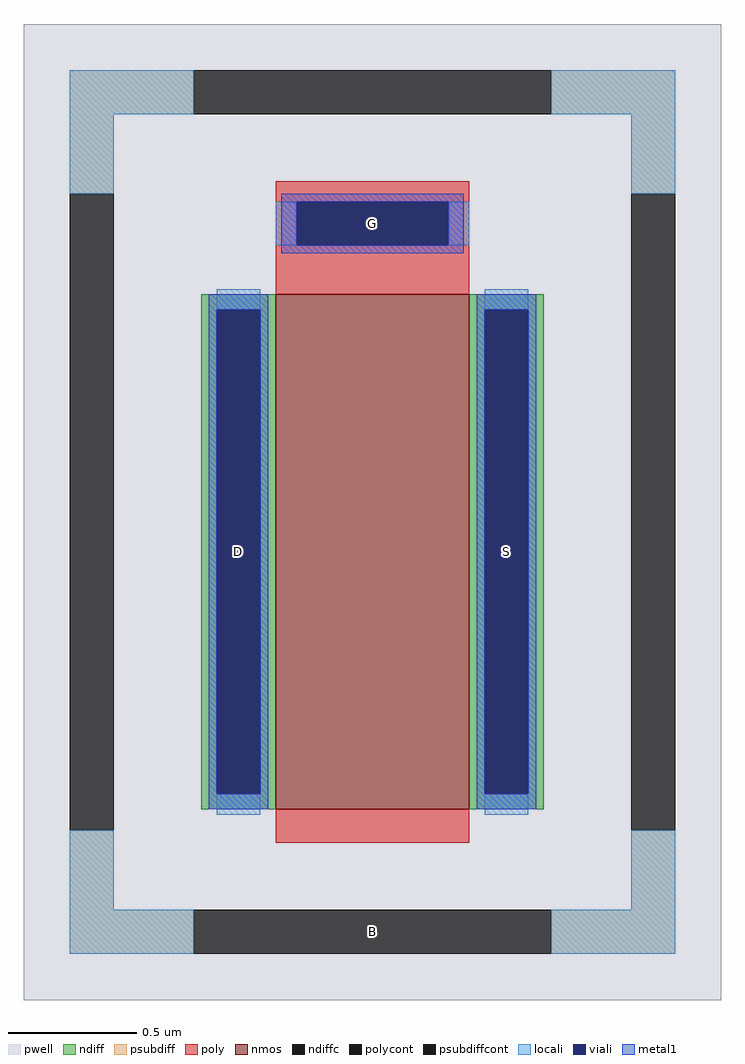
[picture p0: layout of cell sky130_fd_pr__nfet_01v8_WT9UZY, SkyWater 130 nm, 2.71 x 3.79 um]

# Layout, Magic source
magic
tech sky130A
magscale 1 2
<< pwell >>
rect -271 -379 271 379
<< nmos >>
rect -75 -231 75 169
<< ndiff >>
rect -133 157 -75 169
rect -133 -219 -121 157
rect -87 -219 -75 157
rect -133 -231 -75 -219
rect 75 157 133 169
rect 75 -219 87 157
rect 121 -219 133 157
rect 75 -231 133 -219
<< ndiffc >>
rect -121 -219 -87 157
rect 87 -219 121 157
<< psubdiff >>
rect -235 309 -139 343
rect 139 309 235 343
rect -235 247 -201 309
rect 201 247 235 309
rect -235 -309 -201 -247
rect 201 -309 235 -247
rect -235 -343 -139 -309
rect 139 -343 235 -309
<< psubdiffcont >>
rect -139 309 139 343
rect -235 -247 -201 247
rect 201 -247 235 247
rect -139 -343 139 -309
<< poly >>
rect -75 241 75 257
rect -75 207 -59 241
rect 59 207 75 241
rect -75 169 75 207
rect -75 -257 75 -231
<< polycont >>
rect -59 207 59 241
<< locali >>
rect -235 309 -139 343
rect 139 309 235 343
rect -235 247 -201 309
rect 201 247 235 309
rect -75 207 -59 241
rect 59 207 75 241
rect -121 157 -87 173
rect -121 -235 -87 -219
rect 87 157 121 173
rect 87 -235 121 -219
rect -235 -309 -201 -247
rect 201 -309 235 -247
rect -235 -343 -139 -309
rect 139 -343 235 -309
<< viali >>
rect -59 207 59 241
rect -121 -219 -87 157
rect 87 -219 121 157
<< metal1 >>
rect -71 241 71 247
rect -71 207 -59 241
rect 59 207 71 241
rect -71 201 71 207
rect -127 157 -81 169
rect -127 -219 -121 157
rect -87 -219 -81 157
rect -127 -231 -81 -219
rect 81 157 127 169
rect 81 -219 87 157
rect 121 -219 127 157
rect 81 -231 127 -219
<< labels >>
rlabel psubdiffcont 0 -326 0 -326 0 B
port 1 nsew
rlabel ndiffc -104 -31 -104 -31 0 D
port 2 nsew
rlabel ndiffc 104 -31 104 -31 0 S
port 3 nsew
rlabel polycont 0 224 0 224 0 G
port 4 nsew
<< properties >>
string FIXED_BBOX -218 -326 218 326
string gencell sky130_fd_pr__nfet_01v8
string library sky130
string parameters w 2 l 0.75 m 1 nf 1 diffcov 100 polycov 100 guard 1 glc 1 grc 1 gtc 1 gbc 1 tbcov 100 rlcov 100 topc 1 botc 0 poverlap 0 doverlap 1 lmin 0.15 wmin 0.42 class mosfet compatible {sky130_fd_pr__nfet_01v8 sky130_fd_pr__nfet_01v8_lvt  sky130_fd_bs_flash__special_sonosfet_star  sky130_fd_pr__nfet_g5v0d10v5 sky130_fd_pr__nfet_05v0_nvt  sky130_fd_pr__nfet_03v3_nvt} full_metal 1 conn_gates 0 viasrc 100 viadrn 100 viagate 100 viagb 0 viagr 0 viagl 0 viagt 0 doports 1
<< end >>
